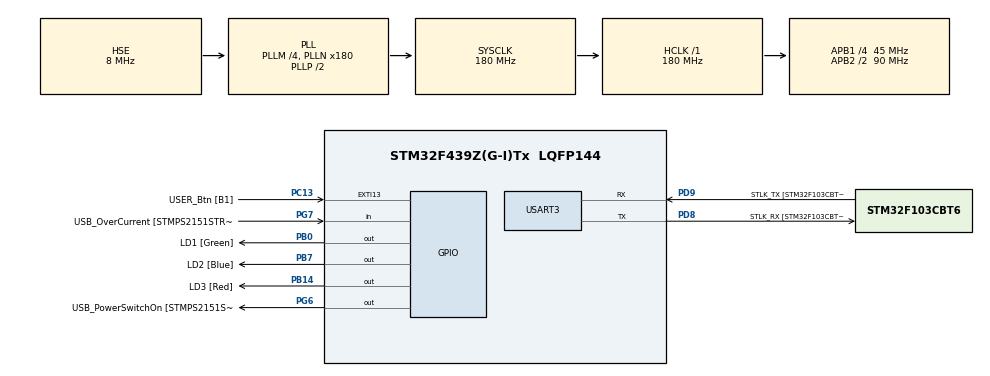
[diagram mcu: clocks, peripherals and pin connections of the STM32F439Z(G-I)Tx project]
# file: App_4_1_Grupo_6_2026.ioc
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Mcu.Family=STM32F4
Mcu.Name=STM32F439Z(G-I)Tx
Mcu.Package=LQFP144
NVIC.PriorityGroup=NVIC_PRIORITYGROUP_4
PA13.GPIO_Label=TMS
PA13.Mode=Serial_Wire
PA13.Signal=SYS_JTMS-SWDIO
PA14.GPIO_Label=TCK
PA14.Mode=Serial_Wire
PA14.Signal=SYS_JTCK-SWCLK
PB0.GPIO_Label=LD1 [Green]
PB0.Signal=GPIO_Output
PB14.GPIO_Label=LD3 [Red]
PB14.Signal=GPIO_Output
PB7.GPIO_Label=LD2 [Blue]
PB7.Signal=GPIO_Output
PC13.GPIO_Label=USER_Btn [B1]
PC13.Signal=GPXTI13
PC14/OSC32_IN.Mode=LSE-External-Oscillator
PC14/OSC32_IN.Signal=RCC_OSC32_IN
PC15/OSC32_OUT.Mode=LSE-External-Oscillator
PC15/OSC32_OUT.Signal=RCC_OSC32_OUT
PD8.GPIO_Label=STLK_RX [STM32F103CBT6_PA3]
PD8.Mode=Asynchronous
PD8.Signal=USART3_TX
PD9.GPIO_Label=STLK_TX [STM32F103CBT6_PA2]
PD9.Mode=Asynchronous
PD9.Signal=USART3_RX
PG6.GPIO_Label=USB_PowerSwitchOn [STMPS2151STR_EN]
PG6.Signal=GPIO_Output
PG7.GPIO_Label=USB_OverCurrent [STMPS2151STR_FAULT]
PG7.Signal=GPIO_Input
PH0/OSC_IN.GPIO_Label=MCO [STM32F103CBT6_PA8]
PH0/OSC_IN.Mode=HSE-External-Oscillator
PH0/OSC_IN.Signal=RCC_OSC_IN
PH1/OSC_OUT.Mode=HSE-External-Oscillator
PH1/OSC_OUT.Signal=RCC_OSC_OUT
ProjectManager.HeapSize=0x200
ProjectManager.StackSize=0x400
ProjectManager.TargetToolchain=STM32CubeIDE
RCC.48MHZClocksFreq_Value=51428571.428571425
RCC.AHBFreq_Value=180000000
RCC.APB1CLKDivider=RCC_HCLK_DIV4
RCC.APB1Freq_Value=45000000
RCC.APB1TimFreq_Value=90000000
RCC.APB2CLKDivider=RCC_HCLK_DIV2
RCC.APB2Freq_Value=90000000
RCC.APB2TimFreq_Value=180000000
RCC.CortexFreq_Value=180000000
RCC.HCLKFreq_Value=180000000
RCC.HSE_VALUE=8000000
RCC.HSI_VALUE=16000000
RCC.PLLM=4
RCC.PLLMUL=RCC_PLL_MUL9
RCC.PLLN=180
RCC.PLLQ=7
RCC.PLLSourceVirtual=RCC_PLLSOURCE_HSE
RCC.PRESCALERUSB=RCC_USBCLKSOURCE_PLL_DIV1_5
RCC.SYSCLKFreq_VALUE=180000000
RCC.SYSCLKSource=RCC_SYSCLKSOURCE_PLLCLK
RCC.SYSCLKSourceVirtual=RCC_SYSCLKSOURCE_PLLCLK
RCC.USBFreq_Value=48000000
RCC.VCOOutputFreq_Value=360000000
USART3.VirtualMode=VM_ASYNC
board=NUCLEO-F439ZI

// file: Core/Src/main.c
/* USER CODE BEGIN Header */
/**
 * @file main.c
 * @author Mamani Flores Carlos (UTN FRT)
 * @brief Aplicación de secuencia unidireccional de LEDs no bloqueante.
 * @details Módulo de Capa 3 que implementa una MEF de dos estados para alternar
 *          el encendido y apagado secuencial de los LEDs onboard a intervalos fijos
 *          utilizando el driver genérico nb_delay sobre STM32F439ZI Nucleo-144.
 * @version 1.0
 * @date 2026
 *
 * @attention
 * Copyright (c) 2026 STMicroelectronics.
 * All rights reserved.
 */
/* USER CODE END Header */
#include "main.h"

/* USER CODE BEGIN Includes */
#include "driver_led.h"
#include "driver_led_pal.h"
#include "nb_delay.h"
#include "stdbool.h"
/* USER CODE END Includes */

/* USER CODE BEGIN PTD */

/** * @brief Definición de estados para la MEF.
 */
typedef enum{
	Estado_Encendido = 0,
	Estado_Apagado
} Estado_t;

/* USER CODE END PTD */

UART_HandleTypeDef huart3;

/* USER CODE BEGIN PV */

/**
 * @brief Tabla de asignación física de LEDs para STM32.
 * @details Almacena los puertos y pines reales. Al ser 'const', reside en Flash.
 * Si agregás LEDs externos en el futuro, solo los sumás a este arreglo.
 */
static const LED_Hardware_t tabla_leds_hardware[] = {
    {LD1_GPIO_Port, LD1_Pin}, // Índice 0: Verde (Onboard)
    {LD2_GPIO_Port, LD2_Pin}, // Índice 1: Azul (Onboard)
    {LD3_GPIO_Port, LD3_Pin}  // Índice 2: Rojo (Onboard)
};

// Cálculo automático de la cantidad de LEDs registrados
static const uint8_t total_leds = sizeof(tabla_leds_hardware) / sizeof(tabla_leds_hardware[0]);

static const uint32_t tiempo_alternancia = 200; // 200ms por estado
static uint8_t indice_led = 0;                  // Controla qué LED de la tabla está activo
static Estado_t estado_mef = Estado_Encendido;   // Estado de la MEF

/* Instancia del retardo no bloqueante */
static nb_delay_t delay_mef;

/* USER CODE END PV */

void SystemClock_Config(void);
static void MX_GPIO_Init(void);
static void MX_USART3_UART_Init(void);

int main(void)
{

	/* MCU Configuration--------------------------------------------------------*/

	/* Reset of all peripherals, Initializes the Flash interface and the Systick. */
	HAL_Init();

	/* Configure the system clock */
	SystemClock_Config();

	/* Initialize all configured peripherals */
	MX_GPIO_Init();
	MX_USART3_UART_Init();
	/* USER CODE BEGIN 2 */

	// Registramos de forma dinámica nuestra tabla de hardware y cantidad de elementos
	LED_Init(tabla_leds_hardware, total_leds);

	nb_delay_init(&delay_mef, tiempo_alternancia);

	/* USER CODE END 2 */

	/* Infinite loop */
	while (1)
	{

		/* USER CODE BEGIN 3 */

		/*
		     * Base de tiempo no bloqueante:
		     * La MEF solo se ejecuta cuando expira el temporizador (cada 200 ms).
		     */
		    if (nb_delay_read(&delay_mef))
		    {
		        switch (estado_mef)
		        {
		            case Estado_Encendido:
		                /* Acción: Enciende el LED actual */
		                LED_Write(indice_led, true);

		                /* Próximo estado al cumplirse el siguiente intervalo */
		                estado_mef = Estado_Apagado;
		                break;

		            case Estado_Apagado:
		                /* Acción: Apaga el LED actual */
		                LED_Write(indice_led, false);

		                /* Avanza de forma circular al siguiente LED */
		                indice_led++;
		                if (indice_led >= LED_GetCount())
		                {
		                    indice_led = 0U;
		                }

		                /* Próximo estado al cumplirse el siguiente intervalo */
		                estado_mef = Estado_Encendido;
		                break;

		            default:
		                /* Recuperación ante corrupción de memoria/estado */
		                for (uint8_t j = 0U; j < LED_GetCount(); j++)
		                {
		                    LED_Write(j, false);
		                }
		                indice_led = 0U;
		                estado_mef = Estado_Encendido;
		                break;
		        }
		    }

	}
	/* USER CODE END 3 */
}

void SystemClock_Config(void)
{
	RCC_OscInitTypeDef RCC_OscInitStruct = {0};
	RCC_ClkInitTypeDef RCC_ClkInitStruct = {0};

	/** Configure the main internal regulator output voltage
	 */
	__HAL_RCC_PWR_CLK_ENABLE();
	__HAL_PWR_VOLTAGESCALING_CONFIG(PWR_REGULATOR_VOLTAGE_SCALE1);

	/** Initializes the RCC Oscillators according to the specified parameters
	 * in the RCC_OscInitTypeDef structure.
	 */
	RCC_OscInitStruct.OscillatorType = RCC_OSCILLATORTYPE_HSE;
	RCC_OscInitStruct.HSEState = RCC_HSE_ON;
	RCC_OscInitStruct.PLL.PLLState = RCC_PLL_ON;
	RCC_OscInitStruct.PLL.PLLSource = RCC_PLLSOURCE_HSE;
	RCC_OscInitStruct.PLL.PLLM = 4;
	RCC_OscInitStruct.PLL.PLLN = 180;
	RCC_OscInitStruct.PLL.PLLP = RCC_PLLP_DIV2;
	RCC_OscInitStruct.PLL.PLLQ = 7;
	if (HAL_RCC_OscConfig(&RCC_OscInitStruct) != HAL_OK)
	{
		Error_Handler();
	}

	/** Activate the Over-Drive mode
	 */
	if (HAL_PWREx_EnableOverDrive() != HAL_OK)
	{
		Error_Handler();
	}

	/** Initializes the CPU, AHB and APB buses clocks
	 */
	RCC_ClkInitStruct.ClockType = RCC_CLOCKTYPE_HCLK|RCC_CLOCKTYPE_SYSCLK
			|RCC_CLOCKTYPE_PCLK1|RCC_CLOCKTYPE_PCLK2;
	RCC_ClkInitStruct.SYSCLKSource = RCC_SYSCLKSOURCE_PLLCLK;
	RCC_ClkInitStruct.AHBCLKDivider = RCC_SYSCLK_DIV1;
	RCC_ClkInitStruct.APB1CLKDivider = RCC_HCLK_DIV4;
	RCC_ClkInitStruct.APB2CLKDivider = RCC_HCLK_DIV2;

	if (HAL_RCC_ClockConfig(&RCC_ClkInitStruct, FLASH_LATENCY_5) != HAL_OK)
	{
		Error_Handler();
	}
}

static void MX_USART3_UART_Init(void)
{

	huart3.Instance = USART3;
	huart3.Init.BaudRate = 115200;
	huart3.Init.WordLength = UART_WORDLENGTH_8B;
	huart3.Init.StopBits = UART_STOPBITS_1;
	huart3.Init.Parity = UART_PARITY_NONE;
	huart3.Init.Mode = UART_MODE_TX_RX;
	huart3.Init.HwFlowCtl = UART_HWCONTROL_NONE;
	huart3.Init.OverSampling = UART_OVERSAMPLING_16;
	if (HAL_UART_Init(&huart3) != HAL_OK)
	{
		Error_Handler();
	}

}

static void MX_GPIO_Init(void)
{
	GPIO_InitTypeDef GPIO_InitStruct = {0};

	/* GPIO Ports Clock Enable */
	__HAL_RCC_GPIOC_CLK_ENABLE();
	__HAL_RCC_GPIOH_CLK_ENABLE();
	__HAL_RCC_GPIOB_CLK_ENABLE();
	__HAL_RCC_GPIOD_CLK_ENABLE();
	__HAL_RCC_GPIOG_CLK_ENABLE();
	__HAL_RCC_GPIOA_CLK_ENABLE();

	/*Configure GPIO pin Output Level */
	HAL_GPIO_WritePin(GPIOB, LD1_Pin|LD3_Pin|LD2_Pin, GPIO_PIN_RESET);

	/*Configure GPIO pin Output Level */
	HAL_GPIO_WritePin(USB_PowerSwitchOn_GPIO_Port, USB_PowerSwitchOn_Pin, GPIO_PIN_RESET);

	/*Configure GPIO pin : USER_Btn_Pin */
	GPIO_InitStruct.Pin = USER_Btn_Pin;
	GPIO_InitStruct.Mode = GPIO_MODE_IT_RISING;
	GPIO_InitStruct.Pull = GPIO_NOPULL;
	HAL_GPIO_Init(USER_Btn_GPIO_Port, &GPIO_InitStruct);

	/*Configure GPIO pins : LD1_Pin LD3_Pin LD2_Pin */
	GPIO_InitStruct.Pin = LD1_Pin|LD3_Pin|LD2_Pin;
	GPIO_InitStruct.Mode = GPIO_MODE_OUTPUT_PP;
	GPIO_InitStruct.Pull = GPIO_NOPULL;
	GPIO_InitStruct.Speed = GPIO_SPEED_FREQ_LOW;
	HAL_GPIO_Init(GPIOB, &GPIO_InitStruct);

	/*Configure GPIO pin : USB_PowerSwitchOn_Pin */
	GPIO_InitStruct.Pin = USB_PowerSwitchOn_Pin;
	GPIO_InitStruct.Mode = GPIO_MODE_OUTPUT_PP;
	GPIO_InitStruct.Pull = GPIO_NOPULL;
	GPIO_InitStruct.Speed = GPIO_SPEED_FREQ_LOW;
	HAL_GPIO_Init(USB_PowerSwitchOn_GPIO_Port, &GPIO_InitStruct);

	/*Configure GPIO pin : USB_OverCurrent_Pin */
	GPIO_InitStruct.Pin = USB_OverCurrent_Pin;
	GPIO_InitStruct.Mode = GPIO_MODE_INPUT;
	GPIO_InitStruct.Pull = GPIO_NOPULL;
	HAL_GPIO_Init(USB_OverCurrent_GPIO_Port, &GPIO_InitStruct);

}

void Error_Handler(void)
{
	__disable_irq();
	while (1)
	{
	}
}
